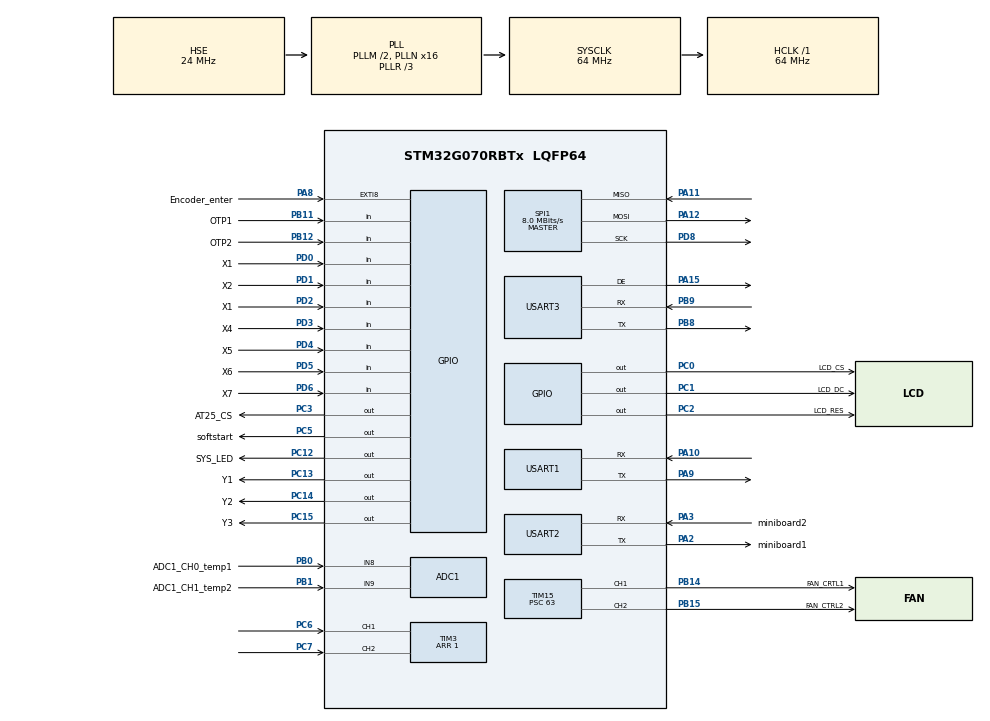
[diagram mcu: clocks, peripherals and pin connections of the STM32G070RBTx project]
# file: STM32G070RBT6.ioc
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ADC1.Channel-5\#ChannelRegularConversion=ADC_CHANNEL_8
ADC1.Channel-6\#ChannelRegularConversion=ADC_CHANNEL_8
ADC1.ClockPrescaler=ADC_CLOCK_ASYNC_DIV32
ADC1.ContinuousConvMode=DISABLE
ADC1.DMAContinuousRequests=ENABLE
ADC1.EOCSelection=ADC_EOC_SEQ_CONV
ADC1.NbrOfConversion=2
ADC1.NbrOfConversionFlag=1
ADC1.Rank-5\#ChannelRegularConversion=1
ADC1.Rank-6\#ChannelRegularConversion=2
ADC1.SamplingTime-5\#ChannelRegularConversion=ADC_SAMPLINGTIME_COMMON_1
ADC1.SamplingTime-6\#ChannelRegularConversion=ADC_SAMPLINGTIME_COMMON_1
ADC1.SamplingTimeCommon1=ADC_SAMPLETIME_39CYCLES_5
ADC1.SamplingTimeCommon2=ADC_SAMPLETIME_39CYCLES_5
ADC1.SelectedChannel=ADC_CHANNEL_8|ADC_CHANNEL_9
ADC1.master=1
Dma.ADC1.3.Direction=DMA_PERIPH_TO_MEMORY
Dma.ADC1.3.EventEnable=DISABLE
Dma.ADC1.3.Instance=DMA1_Channel3
Dma.ADC1.3.MemDataAlignment=DMA_MDATAALIGN_HALFWORD
Dma.ADC1.3.MemInc=DMA_MINC_ENABLE
Dma.ADC1.3.Mode=DMA_NORMAL
Dma.ADC1.3.PeriphDataAlignment=DMA_PDATAALIGN_HALFWORD
Dma.ADC1.3.PeriphInc=DMA_PINC_DISABLE
Dma.ADC1.3.Polarity=HAL_DMAMUX_REQ_GEN_RISING
Dma.ADC1.3.Priority=DMA_PRIORITY_LOW
Dma.ADC1.3.RequestNumber=1
Dma.ADC1.3.SignalID=NONE
Dma.ADC1.3.SyncEnable=DISABLE
Dma.ADC1.3.SyncPolarity=HAL_DMAMUX_SYNC_NO_EVENT
Dma.ADC1.3.SyncRequestNumber=1
Dma.ADC1.3.SyncSignalID=NONE
Dma.Request0=USART2_RX
Dma.Request1=USART3_RX
Dma.Request2=USART3_TX
Dma.Request3=ADC1
Dma.USART2_RX.0.Direction=DMA_PERIPH_TO_MEMORY
Dma.USART2_RX.0.EventEnable=DISABLE
Dma.USART2_RX.0.Instance=DMA1_Channel1
Dma.USART2_RX.0.MemDataAlignment=DMA_MDATAALIGN_BYTE
Dma.USART2_RX.0.MemInc=DMA_MINC_ENABLE
Dma.USART2_RX.0.Mode=DMA_NORMAL
Dma.USART2_RX.0.PeriphDataAlignment=DMA_PDATAALIGN_BYTE
Dma.USART2_RX.0.PeriphInc=DMA_PINC_DISABLE
Dma.USART2_RX.0.Polarity=HAL_DMAMUX_REQ_GEN_RISING
Dma.USART2_RX.0.Priority=DMA_PRIORITY_MEDIUM
Dma.USART2_RX.0.RequestNumber=1
Dma.USART2_RX.0.SignalID=NONE
Dma.USART2_RX.0.SyncEnable=DISABLE
Dma.USART2_RX.0.SyncPolarity=HAL_DMAMUX_SYNC_NO_EVENT
Dma.USART2_RX.0.SyncRequestNumber=1
Dma.USART2_RX.0.SyncSignalID=NONE
Dma.USART3_RX.1.Direction=DMA_PERIPH_TO_MEMORY
Dma.USART3_RX.1.EventEnable=DISABLE
Dma.USART3_RX.1.Instance=DMA1_Channel4
Dma.USART3_RX.1.MemDataAlignment=DMA_MDATAALIGN_BYTE
Dma.USART3_RX.1.MemInc=DMA_MINC_ENABLE
Dma.USART3_RX.1.Mode=DMA_NORMAL
Dma.USART3_RX.1.PeriphDataAlignment=DMA_PDATAALIGN_BYTE
Dma.USART3_RX.1.PeriphInc=DMA_PINC_DISABLE
Dma.USART3_RX.1.Polarity=HAL_DMAMUX_REQ_GEN_RISING
Dma.USART3_RX.1.Priority=DMA_PRIORITY_LOW
Dma.USART3_RX.1.RequestNumber=1
Dma.USART3_RX.1.SignalID=NONE
Dma.USART3_RX.1.SyncEnable=DISABLE
Dma.USART3_RX.1.SyncPolarity=HAL_DMAMUX_SYNC_NO_EVENT
Dma.USART3_RX.1.SyncRequestNumber=1
Dma.USART3_RX.1.SyncSignalID=NONE
Dma.USART3_TX.2.Direction=DMA_MEMORY_TO_PERIPH
Dma.USART3_TX.2.EventEnable=DISABLE
Dma.USART3_TX.2.Instance=DMA1_Channel5
Dma.USART3_TX.2.MemDataAlignment=DMA_MDATAALIGN_BYTE
Dma.USART3_TX.2.MemInc=DMA_MINC_ENABLE
Dma.USART3_TX.2.Mode=DMA_NORMAL
Dma.USART3_TX.2.PeriphDataAlignment=DMA_PDATAALIGN_BYTE
Dma.USART3_TX.2.PeriphInc=DMA_PINC_DISABLE
Dma.USART3_TX.2.Polarity=HAL_DMAMUX_REQ_GEN_RISING
Dma.USART3_TX.2.Priority=DMA_PRIORITY_LOW
Dma.USART3_TX.2.RequestNumber=1
Dma.USART3_TX.2.SignalID=NONE
Dma.USART3_TX.2.SyncEnable=DISABLE
Dma.USART3_TX.2.SyncPolarity=HAL_DMAMUX_SYNC_NO_EVENT
Dma.USART3_TX.2.SyncRequestNumber=1
Dma.USART3_TX.2.SyncSignalID=NONE
Mcu.Family=STM32G0
Mcu.Name=STM32G070RBTx
Mcu.Package=LQFP64
NVIC.ADC1_IRQn=true\:0\:0\:false\:false\:true\:true\:true\:true
NVIC.DMA1_Ch4_7_DMAMUX1_OVR_IRQn=true\:0\:0\:false\:false\:true\:false\:true\:true
NVIC.DMA1_Channel1_IRQn=true\:0\:0\:false\:false\:true\:false\:true\:true
NVIC.DMA1_Channel2_3_IRQn=true\:0\:0\:false\:false\:true\:false\:true\:true
NVIC.TIM14_IRQn=true\:0\:0\:false\:false\:true\:true\:true\:true
NVIC.TIM16_IRQn=true\:0\:0\:false\:false\:true\:true\:true\:true
NVIC.TIM17_IRQn=true\:0\:0\:false\:false\:true\:true\:true\:true
NVIC.TIM1_BRK_UP_TRG_COM_IRQn=true\:0\:0\:false\:false\:true\:true\:true\:true
NVIC.TIM3_IRQn=true\:0\:0\:false\:false\:true\:true\:true\:true
NVIC.TIM6_IRQn=true\:0\:0\:false\:false\:true\:true\:true\:true
NVIC.TIM7_IRQn=true\:0\:0\:false\:false\:true\:true\:true\:true
NVIC.USART1_IRQn=true\:0\:0\:false\:false\:true\:true\:true\:true
NVIC.USART2_IRQn=true\:0\:0\:false\:false\:true\:true\:true\:true
PA10.Mode=Asynchronous
PA10.Signal=USART1_RX
PA11\ [PA9].Mode=Full_Duplex_Master
PA11\ [PA9].Signal=SPI1_MISO
PA12\ [PA10].Mode=Full_Duplex_Master
PA12\ [PA10].Signal=SPI1_MOSI
PA13.Mode=Serial_Wire
PA13.Signal=SYS_SWDIO
PA14-BOOT0.Mode=Serial_Wire
PA14-BOOT0.Signal=SYS_SWCLK
PA15.Mode=Hardware Flow Control (RS485)
PA15.Signal=USART3_DE
PA2.GPIO_Label=miniboard1
PA2.Mode=Asynchronous
PA2.Signal=USART2_TX
PA3.GPIO_Label=miniboard2
PA3.Mode=Asynchronous
PA3.Signal=USART2_RX
PA8.GPIO_Label=Encoder_enter
PA8.GPIO_ModeDefaultEXTI=GPIO_MODE_IT_FALLING
PA8.GPIO_PuPd=GPIO_PULLUP
PA8.Signal=GPXTI8
PA9.Mode=Asynchronous
PA9.Signal=USART1_TX
PB0.GPIO_Label=ADC1_CH0_temp1
PB0.Mode=IN8
PB0.Signal=ADC1_IN8
PB1.GPIO_Label=ADC1_CH1_temp2
PB1.Mode=IN9
PB1.Signal=ADC1_IN9
PB11.GPIO_Label=OTP1
PB11.GPIO_PuPd=GPIO_PULLUP
PB11.Signal=GPIO_Input
PB12.GPIO_Label=OTP2
PB12.GPIO_PuPd=GPIO_PULLUP
PB12.Signal=GPIO_Input
PB14.GPIO_Label=FAN_CRTL1
PB14.Signal=S_TIM15_CH1
PB15.GPIO_Label=FAN_CTRL2
PB15.Signal=S_TIM15_CH2
PB8.Mode=Asynchronous
PB8.Signal=USART3_TX
PB9.Mode=Asynchronous
PB9.Signal=USART3_RX
PC0.GPIO_Label=LCD_CS
PC0.Signal=GPIO_Output
PC1.GPIO_Label=LCD_DC
PC1.Signal=GPIO_Output
PC12.GPIO_Label=SYS_LED
PC12.GPIO_PuPd=GPIO_NOPULL
PC12.Signal=GPIO_Output
PC13.GPIO_Label=Y1
PC13.GPIO_PuPd=GPIO_PULLUP
PC13.PinState=GPIO_PIN_SET
PC13.Signal=GPIO_Output
PC14-OSC32_IN\ (PC14).GPIO_Label=Y2
PC14-OSC32_IN\ (PC14).GPIO_PuPd=GPIO_PULLUP
PC14-OSC32_IN\ (PC14).PinState=GPIO_PIN_SET
PC14-OSC32_IN\ (PC14).Signal=GPIO_Output
PC15-OSC32_OUT\ (PC15).GPIO_Label=Y3
PC15-OSC32_OUT\ (PC15).GPIO_PuPd=GPIO_PULLUP
PC15-OSC32_OUT\ (PC15).PinState=GPIO_PIN_SET
PC15-OSC32_OUT\ (PC15).Signal=GPIO_Output
PC2.GPIO_Label=LCD_RES
PC2.Signal=GPIO_Output
PC3.GPIO_Label=AT25_CS
PC3.GPIO_PuPd=GPIO_PULLUP
PC3.PinState=GPIO_PIN_SET
PC3.Signal=GPIO_Output
PC5.GPIO_Label=softstart
PC5.Signal=GPIO_Output
PC6.Signal=S_TIM3_CH1
PC7.Signal=S_TIM3_CH2
PD0.GPIO_Label=X1
PD0.GPIO_PuPd=GPIO_PULLUP
PD0.Signal=GPIO_Input
PD1.GPIO_Label=X2
PD1.GPIO_PuPd=GPIO_PULLUP
PD1.Signal=GPIO_Input
PD2.GPIO_Label=X1
PD2.GPIO_PuPd=GPIO_PULLUP
PD2.Signal=GPIO_Input
PD3.GPIO_Label=X4
PD3.GPIO_PuPd=GPIO_PULLUP
PD3.Signal=GPIO_Input
PD4.GPIO_Label=X5
PD4.GPIO_PuPd=GPIO_PULLUP
PD4.Signal=GPIO_Input
PD5.GPIO_Label=X6
PD5.GPIO_PuPd=GPIO_PULLUP
PD5.Signal=GPIO_Input
PD6.GPIO_Label=X7
PD6.GPIO_PuPd=GPIO_PULLUP
PD6.Signal=GPIO_Input
PD8.Mode=Full_Duplex_Master
PD8.Signal=SPI1_SCK
PF0-OSC_IN\ (PF0).Mode=HSE-External-Oscillator
PF0-OSC_IN\ (PF0).Signal=RCC_OSC_IN
PF1-OSC_OUT\ (PF1).Mode=HSE-External-Oscillator
PF1-OSC_OUT\ (PF1).Signal=RCC_OSC_OUT
ProjectManager.HeapSize=0x200
ProjectManager.StackSize=0x400
ProjectManager.TargetToolchain=STM32CubeIDE
RCC.ADCFreq_Value=64000000
RCC.AHBFreq_Value=64000000
RCC.APB1CLKDivider=RCC_HCLK_DIV2
RCC.CortexFreq_Value=64000000
RCC.EXTERNAL_CLOCK_VALUE=48000
RCC.HCLKFreq_Value=64000000
RCC.HSE_VALUE=24000000
RCC.HSI_VALUE=16000000
RCC.LSE_VALUE=32768
RCC.PLLM=RCC_PLLM_DIV2
RCC.PLLN=16
RCC.PLLR=RCC_PLLR_DIV3
RCC.PLLSourceVirtual=RCC_PLLSOURCE_HSE
RCC.SYSCLKFreq_VALUE=64000000
RCC.SYSCLKSource=RCC_SYSCLKSOURCE_PLLCLK
RCC.VCOOutputFreq_Value=192000000
SH.S_TIM15_CH1.0=TIM15_CH1,PWM Generation1 CH1
SH.S_TIM15_CH2.0=TIM15_CH2,PWM Generation2 CH2
SH.S_TIM3_CH1.0=TIM3_CH1,Encoder_Interface
SH.S_TIM3_CH2.0=TIM3_CH2,Encoder_Interface
SPI1.BaudRatePrescaler=SPI_BAUDRATEPRESCALER_4
SPI1.CLKPhase=SPI_PHASE_1EDGE
SPI1.CLKPolarity=SPI_POLARITY_LOW
SPI1.CRCCalculation=SPI_CRCCALCULATION_DISABLE
SPI1.CalculateBaudRate=8.0 MBits/s
SPI1.DataSize=SPI_DATASIZE_8BIT
SPI1.Direction=SPI_DIRECTION_2LINES
SPI1.FirstBit=SPI_FIRSTBIT_MSB
SPI1.Mode=SPI_MODE_MASTER
SPI1.VirtualType=VM_MASTER
TIM1.AutoReloadPreload=TIM_AUTORELOAD_PRELOAD_DISABLE
TIM1.Period=4999
TIM1.Prescaler=63999
TIM14.AutoReloadPreload=TIM_AUTORELOAD_PRELOAD_ENABLE
TIM14.Period=499
TIM14.Prescaler=63999
TIM15.AutoReloadPreload=TIM_AUTORELOAD_PRELOAD_ENABLE
TIM15.Channel-PWM\ Generation1\ CH1=TIM_CHANNEL_1
TIM15.Channel-PWM\ Generation2\ CH2=TIM_CHANNEL_2
TIM15.Period=999
TIM15.Prescaler=63
TIM15.Pulse-PWM\ Generation1\ CH1=99
TIM15.Pulse-PWM\ Generation2\ CH2=99
TIM16.AutoReloadPreload=TIM_AUTORELOAD_PRELOAD_DISABLE
TIM16.Period=4999
TIM16.Prescaler=63999
TIM17.AutoReloadPreload=TIM_AUTORELOAD_PRELOAD_ENABLE
TIM17.Period=9
TIM17.Prescaler=6399
TIM3.EncoderMode=TIM_ENCODERMODE_TI12
TIM3.Period=1
TIM6.AutoReloadPreload=TIM_AUTORELOAD_PRELOAD_ENABLE
TIM6.Period=4999
TIM6.Prescaler=6399
TIM7.AutoReloadPreload=TIM_AUTORELOAD_PRELOAD_ENABLE
TIM7.Period=9
TIM7.Prescaler=6399
USART1.VirtualMode-Asynchronous=VM_ASYNC
USART2.VirtualMode-Asynchronous=VM_ASYNC
USART3.VirtualMode-Asynchronous=VM_ASYNC
USART3.VirtualMode-Hardware\ Flow\ Control\ (RS485)=VM_ASYNC
VP_TIM14_VS_ClockSourceINT.Mode=Enable_Timer
VP_TIM15_VS_ClockSourceINT.Mode=Internal
VP_TIM16_VS_ClockSourceINT.Mode=Enable_Timer
VP_TIM17_VS_ClockSourceINT.Mode=Enable_Timer
VP_TIM1_VS_ClockSourceINT.Mode=Internal
VP_TIM6_VS_ClockSourceINT.Mode=Enable_Timer
VP_TIM7_VS_ClockSourceINT.Mode=Enable_Timer
board=custom

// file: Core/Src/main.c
/* USER CODE BEGIN Header */
/**
  ******************************************************************************
  * @file           : main.c
  * @brief          : Main program body
  ******************************************************************************
  * @attention
  *
  * Copyright (c) 2023 STMicroelectronics.
  * All rights reserved.
  *
  * This software is licensed under terms that can be found in the LICENSE file
  * in the root directory of this software component.
  * If no LICENSE file comes with this software, it is provided AS-IS.
  *
  ******************************************************************************
  */
/* USER CODE END Header */
#include "main.h"
#include "adc.h"
#include "dma.h"
#include "spi.h"
#include "tim.h"
#include "usart.h"
#include "gpio.h"

/* USER CODE BEGIN Includes */
#include "PowerSupplyConfig.h"
#include "spi_oled.h"
#include "newkey.h"
#include "encoder.h"
#include "fonts.h"
/* USER CODE END Includes */

/* USER CODE BEGIN PV */
IT_Flag Flag;
/* USER CODE END PV */

void SystemClock_Config(void);
/* USER CODE BEGIN PFP */
void My_sys_Init(void);
void IT_handle(void);
/* USER CODE END PFP */

int main(void)
{

  /* MCU Configuration--------------------------------------------------------*/

  /* Reset of all peripherals, Initializes the Flash interface and the Systick. */
  HAL_Init();

  /* Configure the system clock */
  SystemClock_Config();

  /* Initialize all configured peripherals */
  MX_GPIO_Init();
  MX_DMA_Init();
  MX_SPI1_Init();
  MX_TIM3_Init();
  MX_TIM6_Init();
  MX_TIM7_Init();
  MX_TIM15_Init();
  MX_USART2_UART_Init();
  MX_USART3_UART_Init();
  MX_ADC1_Init();
  MX_TIM16_Init();
  MX_TIM17_Init();
  MX_TIM14_Init();
  MX_TIM1_Init();
  MX_USART1_UART_Init();
  /* USER CODE BEGIN 2 */
  My_sys_Init();
  /* USER CODE END 2 */

  /* Infinite loop */
  while (1)
  {

    /* USER CODE BEGIN 3 */

	/*encoder&Cursor&key*/
	IT_handle();
	/*LCD update*/
	Display_Interface();

	Check_Error();

  }
  /* USER CODE END 3 */
}

void SystemClock_Config(void)
{
  RCC_OscInitTypeDef RCC_OscInitStruct = {0};
  RCC_ClkInitTypeDef RCC_ClkInitStruct = {0};

  /** Configure the main internal regulator output voltage
  */
  HAL_PWREx_ControlVoltageScaling(PWR_REGULATOR_VOLTAGE_SCALE1);

  /** Initializes the RCC Oscillators according to the specified parameters
  * in the RCC_OscInitTypeDef structure.
  */
  RCC_OscInitStruct.OscillatorType = RCC_OSCILLATORTYPE_HSE;
  RCC_OscInitStruct.HSEState = RCC_HSE_ON;
  RCC_OscInitStruct.PLL.PLLState = RCC_PLL_ON;
  RCC_OscInitStruct.PLL.PLLSource = RCC_PLLSOURCE_HSE;
  RCC_OscInitStruct.PLL.PLLM = RCC_PLLM_DIV2;
  RCC_OscInitStruct.PLL.PLLN = 16;
  RCC_OscInitStruct.PLL.PLLP = RCC_PLLP_DIV2;
  RCC_OscInitStruct.PLL.PLLR = RCC_PLLR_DIV3;
  if (HAL_RCC_OscConfig(&RCC_OscInitStruct) != HAL_OK)
  {
    Error_Handler();
  }

  /** Initializes the CPU, AHB and APB buses clocks
  */
  RCC_ClkInitStruct.ClockType = RCC_CLOCKTYPE_HCLK|RCC_CLOCKTYPE_SYSCLK
                              |RCC_CLOCKTYPE_PCLK1;
  RCC_ClkInitStruct.SYSCLKSource = RCC_SYSCLKSOURCE_PLLCLK;
  RCC_ClkInitStruct.AHBCLKDivider = RCC_SYSCLK_DIV1;
  RCC_ClkInitStruct.APB1CLKDivider = RCC_HCLK_DIV2;

  if (HAL_RCC_ClockConfig(&RCC_ClkInitStruct, FLASH_LATENCY_2) != HAL_OK)
  {
    Error_Handler();
  }
}

/* USER CODE BEGIN 4 */
void My_sys_Init(void)
{
	Flag.ADC1_IT=0;
	Flag.TIM7_IT=0;
	Flag.TIM3_IT=0;
	Flag.TIM6_IT=0;
	Flag.TIM7_IT=0;
	Flag.TIM17_IT=0;
	Flag.ERROR_Flag=0;
	Flag.Encoder_BF=0;
	Flag.Current_error=3;
	/*main interface*/
	xyz.coordinates1=0;
	xyz.coordinates2=0;
	xyz.coordinates3=0;
	/*power off till soft start*/
	Power_AC_Off;
	/*Disable the key at first*/
	keys_EN = DISABLE;
	//PD0 PD2 key scan init
	SYSCFG_TypeDef  *SYScfg=SYSCFG;
	SYScfg->CFGR1|=(SYSCFG_CFGR1_UCPD2_STROBE);
	//PA8
	SYSCFG_TypeDef  *SYScfg1=SYSCFG;
	SYScfg1->CFGR1|=(SYSCFG_CFGR1_UCPD1_STROBE);
	/*other device init*/
	AT_25_init();
	AT25_Reset();
	AT25_load_AD_Param();
	OLED_Init();
	/*Cursor off*/
	__HAL_TIM_DISABLE(&htim6);
	/*check temperature*/
	HAL_ADC_Start_DMA(&hadc1,(uint32_t *)ADC_temp_buffer,2);
	/*start to communicate with mini board*/
	__HAL_UART_ENABLE_IT(&huart2, UART_IT_IDLE);
	UART_Start_Receive_DMA(&huart2,Uart2_Receive_buffer,9);
	__HAL_UART_CLEAR_IT(&huart2,UART_CLEAR_IDLEF);
	/*Delay on soft start*/
	DAC_Cmd_send(1,11,0);
	/*all device initialize soft start timer on，power on*/
	HAL_TIM_Base_Start_IT(&htim1);
	/*loop mode*/
	DAC_Cmd_send(1,2,0);

}
/**
  * @brief
  * @retval None
  */
void IT_handle(void)
{

		if(Flag.TIM3_IT==1)
		{
			Encoder_Data_refresh();
			Flag.Encoder_BF=0;
		}
		/*key scan 100Hz*/
		if(Flag.TIM7_IT==1)
		{
			Flag.TIM7_IT=0;
			KEY_Handle();
			/*sleep*/
			if(COUNT_ESC==2)
			{
				COUNT_ESC=0;
				Sleep_ON_OFF = ~Sleep_ON_OFF;
			}

		}
		/*Cursor flash*/
		if(Flag.TIM6_IT==1)
		{
			Flag.TIM6_IT=0;
			Cursor_flash();

		}
		if(Flag.ADC1_IT==1)
		{
			Flag.ADC1_IT=0;
			static float R1,R2,T;
			static uint16_t Voltage_Temperature[2];

			Voltage_Temperature[0]=__HAL_ADC_CALC_DATA_TO_VOLTAGE(3300,ADC_temp_buffer[0],ADC_RESOLUTION_12B);//mv
			Voltage_Temperature[1]=__HAL_ADC_CALC_DATA_TO_VOLTAGE(3300,ADC_temp_buffer[1],ADC_RESOLUTION_12B);//mv

			R1=Voltage_Temperature[0]/(Voltage_Temperature[0]-2970);
			R2=Voltage_Temperature[1]/(Voltage_Temperature[1]-2970);
			T=-6.25*(R1+R2)/2+87.5;//温度电阻曲线 Kohm
			sprintf(String_Temperature_CH1, "%6.2f", T);//update temperature
			Flag.FAN_LEVEL=99/5.0*T-485;//compare value
			__HAL_TIM_SET_COMPARE(&htim15,TIM_CHANNEL_1,(uint16_t)Flag.FAN_LEVEL);//set compare value
			__HAL_TIM_SET_COMPARE(&htim15,TIM_CHANNEL_2,(uint16_t)Flag.FAN_LEVEL);
			/*过温判别*/
			if(Voltage_Temperature[0]<1500||Voltage_Temperature[1]<1500)
			{
				ON_OFF = OFF;
				OUTPUT_NOT_OUTPUT = NOT_OUTPUT;
				Output_Zero();
				TIM16_DELAY_OFF();
				TIM17_CYCLE_OFF();
				Error |= OTP;
				xyz.coordinates1=4;
				xyz.coordinates2=1;
				xyz.coordinates3=0;
			}

		}
		if(Flag.TIM14_IT==1)
		{
			Flag.TIM14_IT=0;

		}

}

/* USER CODE END 4 */

void Error_Handler(void)
{
  __disable_irq();
  while (1)
  {
  }
}
